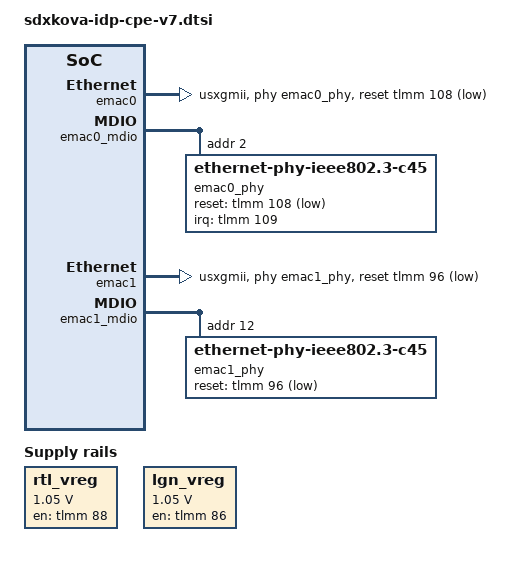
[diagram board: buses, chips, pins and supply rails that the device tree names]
// SPDX-License-Identifier: BSD-3-Clause
/*
 * Copyright (c) Qualcomm Technologies, Inc. and/or its subsidiaries.
 */

#include "sdxkova.dtsi"

&soc {
        rtl_vreg: rtl_vreg {
                compatible = "qti-regulator-fixed";
                regulator-name = "rtl_vreg";
                gpio = <&tlmm 88 GPIO_ACTIVE_HIGH>;
                regulator-min-microvolt = <1050000>;
                regulator-max-microvolt = <1050000>;
                enable-active-high;
                regulator-enable-ramp-delay = <80000>;
        };

        lgn_vreg: lgn_vreg {
                compatible = "qti-regulator-fixed";
                regulator-name = "lgn_vreg";
                gpio = <&tlmm 86 GPIO_ACTIVE_HIGH>;
                regulator-min-microvolt = <1050000>;
                regulator-max-microvolt = <1050000>;
                enable-active-high;
                regulator-enable-ramp-delay = <80000>;
        };
};

&ioss_emac0_rx {
	qcom,compatible-ipa-configs = "default", "dbl_vlan";
};

&ioss_emac0_tx {
	qcom,compatible-ipa-configs = "default", "dbl_vlan";
};

&emac0 {
        status = "ok";
        phy-mode = "usxgmii";
        managed = "auto";
        snps,reset-active-low;
        snps,reset-gpio = <&tlmm 108 1>;
        snps,reset-delays-us = <1000 40 150000>;
        vreg_emac_phy-supply = <&rtl_vreg>;
        phy-handle = <&emac0_phy>;
        pinctrl-names = "default","init";
        pinctrl-0 = <&emac0_mdc_active
                     &emac0_mdio_active
                     &emac1_pin_phy_intr_active
                     &emac1_phy_reset_state_active>;
        pinctrl-1 = <&emac0_mdc_inactive
                     &emac0_mdio_inactive
                     &emac1_pin_phy_intr_inactive
                     &emac1_phy_reset_state_inactive>;
};

&emac0_mdio {
        emac0_phy: emac0_phy {
                compatible = "ethernet-phy-ieee802.3-c45";
                reg = <0x2>;
                device_type = "ethernet-phy";
                reset-gpios = <&tlmm 108 GPIO_ACTIVE_LOW>;
                reset-assert-us = <1000>;
                reset-deassert-us = <150000>;
                interrupts-extended = <&tlmm 109 IRQ_TYPE_EDGE_FALLING>;
        };
};

&ioss_emac1_rx {
	qcom,compatible-ipa-configs = "default";
};

&ioss_emac1_tx {
	qcom,compatible-ipa-configs = "default";
};

&emac1 {
        status = "ok";
        phy-mode = "usxgmii";
        managed = "auto";
        snps,reset-active-low;
        snps,reset-gpio = <&tlmm 96 1>;
        snps,reset-delays-us = <1000 100000 221000>;
        vreg_emac_phy-supply = <&lgn_vreg>;
        phy-handle = <&emac1_phy>;
        pinctrl-names = "default","init";
        pinctrl-0 = <&emac1_mdc_active
                     &emac1_mdio_active
                     &emac0_pin_phy_intr_active
                     &emac0_phy_reset_state_active>;
        pinctrl-1 = <&emac1_mdc_inactive
                     &emac1_mdio_inactive
                     &emac0_pin_phy_intr_inactive
                     &emac0_phy_reset_state_inactive>;
};

&emac1_mdio {
        emac1_phy: emac1_phy {
                compatible = "ethernet-phy-ieee802.3-c45";
                reg = <0xc>;
                device_type = "ethernet-phy";
                reset-gpios = <&tlmm 96 GPIO_ACTIVE_LOW>;
                reset-assert-us = <1000>;
                reset-deassert-us = <221000>;
        };
};
